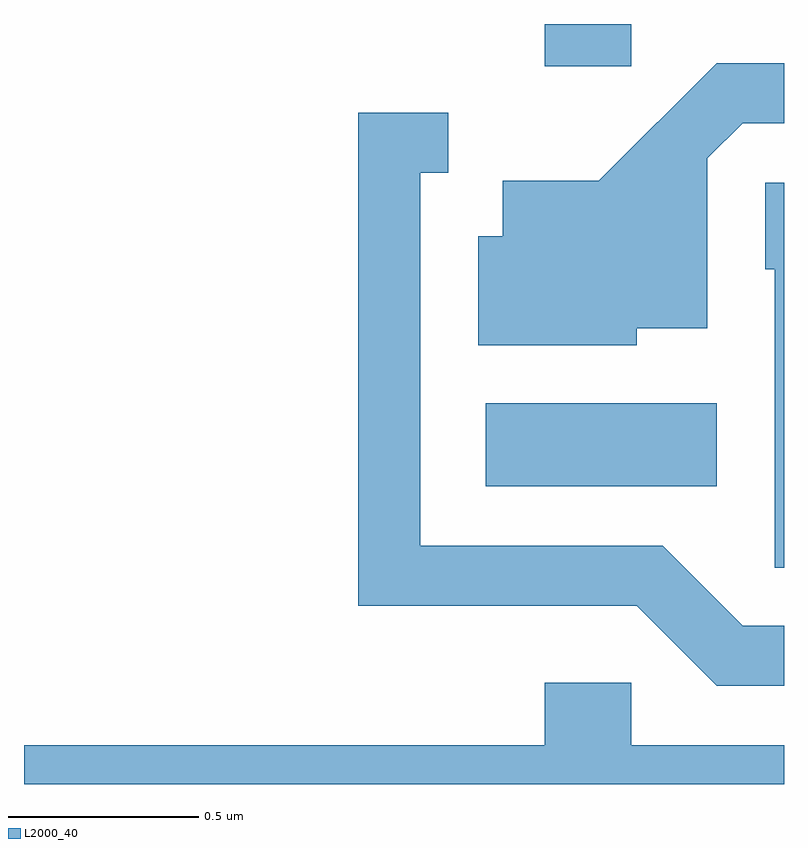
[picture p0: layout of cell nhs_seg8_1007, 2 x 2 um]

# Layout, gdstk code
import gdstk
lib = gdstk.Library(unit=1e-6, precision=1e-09)
def R(c, l, rs):  # rectangles x0, y0, x1, y1
    for r in rs: c.add(gdstk.rectangle(r[:2], r[2:], *l))
def P(c, l, *ps):  # polygons
    for p in ps: c.add(gdstk.Polygon(p, *l))
L2000_40 = (2000, 40)

nhs_seg8_1007 = lib.new_cell('nhs_seg8_1007')
R(nhs_seg8_1007, L2000_40, [(193.826,1855.126,194.434,1855.344), (193.981,1856.231,194.209,1856.342)])
P(nhs_seg8_1007, L2000_40, [(194.224,1855.541),(194.409,1855.541),(194.409,1855.989),(194.502,1856.081),(194.611,1856.081),(194.611,1856.239),(194.434,1856.239),(194.124,1855.929),(193.871,1855.929),(193.871,1855.784),(193.806,1855.784),(193.806,1855.496),(194.224,1855.496)],
  [(194.611,1854.759),(194.502,1854.759),(194.292,1854.969),(193.654,1854.969),(193.654,1855.951),(193.728,1855.951),(193.728,1856.109),(193.491,1856.109),(193.491,1854.811),(194.224,1854.811),(194.434,1854.601),(194.611,1854.601)],
  [(194.611,1855.924),(194.561,1855.924),(194.561,1855.696),(194.586,1855.696),(194.586,1854.911),(194.611,1854.911)],
  [(194.611,1854.444),(194.209,1854.444),(194.209,1854.609),(193.981,1854.609),(193.981,1854.444),(192.611,1854.444),(192.611,1854.342),(194.611,1854.342)])

lib.write_gds('nhs_seg8_1007.gds')
